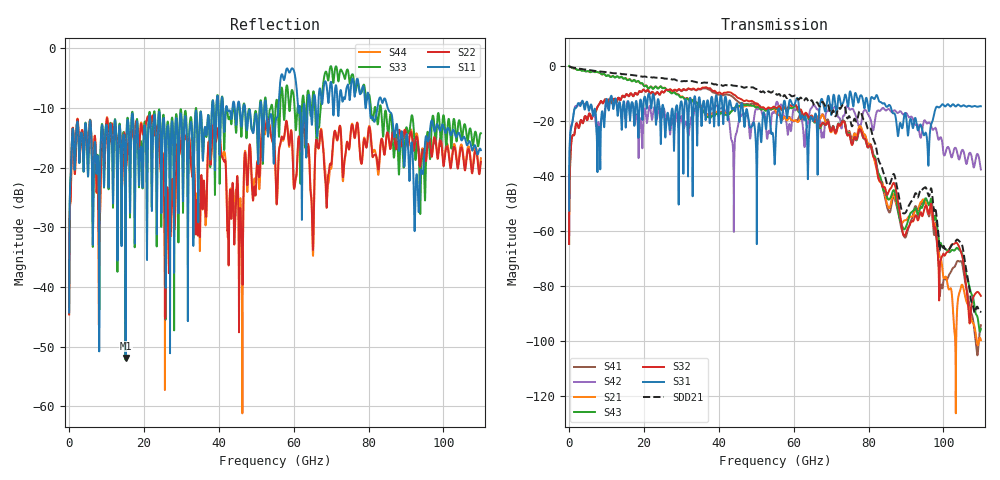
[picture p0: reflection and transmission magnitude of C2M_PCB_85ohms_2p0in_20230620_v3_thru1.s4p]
! Info: Touchstone file created by Circ.  Input file=C2M_PCB_85ohms_2p0in_20230620_v3.circ
# Hz S RI R 50
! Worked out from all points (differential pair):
!   11000 points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, 10 MHz to 110 GHz, reference 50 ohm
!   strongest paths, dB at 10 MHz, 27.51 GHz, 55.01 GHz, 82.51 GHz, 110 GHz:
!     S31: -52.5, -15.5, -33.5, -11.7, -14.6
!     S32: -64.7, -9.0, -15.0, -40.3, -83.5
!     S43: -0.1, -9.9, -15.4, -38.6, -95.6
!     S21: -0.1, -9.6, -15.9, -39.8, -99.6
!     S42: -52.4, -19.0, -15.6, -16.1, -37.6
!     S41: -64.7, -9.2, -16.0, -38.6, -94.2
!   taken as a pair (ports 3,1 in; 4,2 out), SDD21 dB: -0.1, -4.9, -9.6, -33.3, -89.6
!   lowest |S11| = -51.9 dB at 15.1 GHz (marker M1), VSWR 1.01, Z = 49.8 + j0.179 ohm
!   |S11| at or under -10 dB: start of sweep to 38.16 GHz; 47 GHz to 50.97 GHz (3.964 GHz wide, 8.09 % of centre); 85.12 GHz to end of sweep (the widest 3 of 20)
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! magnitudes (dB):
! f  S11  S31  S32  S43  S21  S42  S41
! 10 MHz  -44.3  -52.5  -64.7  -0.1  -0.1  -52.4  -64.7
! 1.88 GHz  -14.7  -15.2  -21.0  -1.1  -1.1  -14.5  -21.0
! 15.1 GHz  -51.9  -22.0  -10.6  -4.4  -4.4  -19.0  -10.6
! 77.85 GHz  -7.6  -10.7  -23.1  -23.3  -21.9  -21.5  -22.0
! 96.65 GHz  -12.5  -21.6  -50.0  -48.2  -51.1  -21.5  -51.8
! 99.41 GHz  -13.3  -14.3  -69.8  -64.8  -70.5  -26.1  -79.4
! 110 GHz  -17.1  -14.6  -83.5  -95.6  -99.6  -37.6  -94.2
